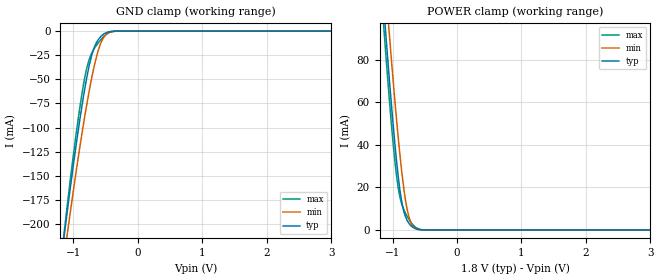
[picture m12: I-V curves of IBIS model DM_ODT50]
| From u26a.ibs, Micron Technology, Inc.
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|   MODEL DM_ODT50 (DM Input model with 50 Ohm ODT Submodel)
[Model]   DM_ODT50
Model_type   Input
Vinl = 650.000mV
Vinh = 1.150V
|   typ   min   max
C_comp   3.150pF   2.760pF   3.510pF
| Note: C_comp increases when the ODT circuit is enabled.
[Model Spec]
| Input threshold voltage corners
Vinl   0.650V   0.600V   0.700V
Vinh   1.150V   1.100V   1.200V
[Receiver Thresholds]
Vth   =  0.900V
Vth_min  =  0.882V
Vth_max  =  0.918V
Vinh_ac  =  0.250V
Vinh_dc  =  0.125V
Vinl_ac  = -0.250V
Vinl_dc  = -0.125V
Tslew_ac =  5.000ns |Not specified, so set to high value
Threshold_sensitivity = 0.50
Reference_supply Pullup_ref
[Voltage Range]   1.800V   1.700V   1.900V
[Pullup Reference]   1.800V   1.700V   1.900V
| Junction Temperature (Ambient temp is 25C typ, 85C min, 0C max)
[Temperature Range]   40.0   100.0   0.0
[Add Submodel]
| Submodel Name   Mode
50ohm_ODT   Non-Driving
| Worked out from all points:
|   GND clamp passes 1 mA (typ) near -0.46 V on its own axis
|   POWER clamp passes 1 mA (typ) near -0.67 V on its own axis
[GND Clamp]
|   Voltage   I(typ)   I(min)   I(max)
-1.8V     -595.2mA   -580.7mA   -638.4mA
-1.155V   -219.4mA   -240.6mA   -216mA
-1.13V    -205.9mA   -228.1mA   -201.2mA
-1.085V   -182.1mA   -206mA     -175.3mA
-920mV    -101mA     -129.3mA   -88.81mA
-805mV    -53.05mA   -81.27mA   -42.45mA
-750mV    -34.63mA   -60.57mA   -28.67mA
-675mV    -16.94mA   -35.88mA   -18.06mA
-595mV    -7.212mA   -16.23mA   -10.6mA
-515mV    -2.521mA   -5.206mA   -4.809mA
-300mV    -16.99uA   -64.95uA   -29.91uA
3.6V      0A         0A         0A
[POWER Clamp]
|   Voltage   I(typ)   I(min)   I(max)
-1.8V     395.7mA    409.1mA    394.8mA
-1.135V   104.1mA    125.2mA    94.99mA
-1.105V   92.18mA    113.4mA    82.84mA
-1.06V    74.74mA    95.99mA    65.25mA
-1.045V   69.08mA    90.3mA     59.63mA
-950mV    36.17mA    56.02mA    28.57mA
-910mV    24.73mA    42.88mA    19.51mA
-865mV    14.67mA    29.53mA    13.06mA
-775mV    4.603mA    9.939mA    6.442mA
-675mV    1.074mA    1.58mA     2.132mA
-436mV    0A         NA         NA
3.6V      0A         0A         0A
